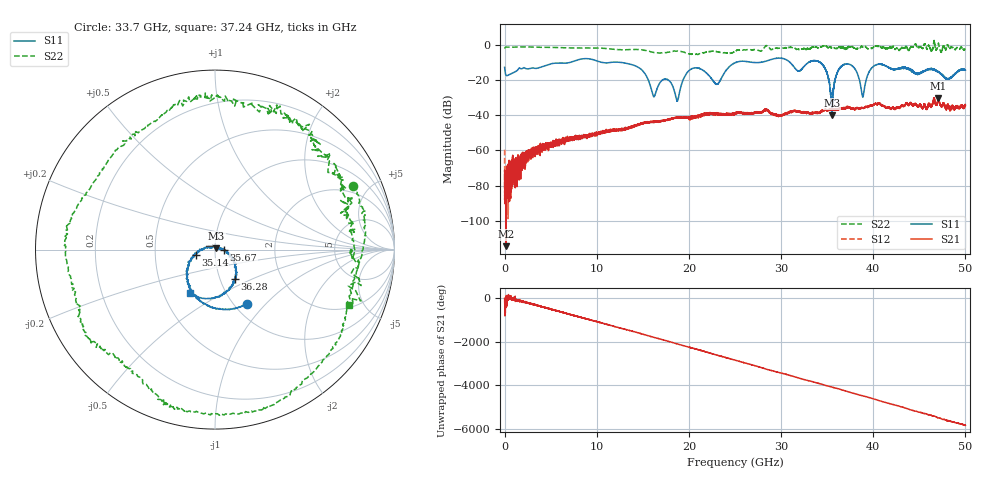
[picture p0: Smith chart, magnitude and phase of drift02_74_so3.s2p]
!Created with skrf (http://scikit-rf.org).
# Hz S RI R 50.0
!freq ReS11 ImS11 ReS21 ImS21 ReS12 ImS12 ReS22 ImS22
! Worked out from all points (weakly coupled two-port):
!   10001 points, 300 kHz to 50 GHz, reference 50 ohm
!   highest |S21| = -30.26 dB at 47.07 GHz (marker M1); lowest = -114.4 dB at 130.3 MHz (marker M2)
!   lowest |S11| = -40.2 dB at 35.54 GHz (marker M3), VSWR 1.02, Z = 50.7 + j0.716 ohm
!   |S11| at or under -10 dB: start of sweep to 7.18 GHz; 12.36 GHz to 25.17 GHz (12.81 GHz wide, 68.3 % of centre); 34.2 GHz to end of sweep (the widest 3 of 17)
!   |S22| runs from -5.7 to 2.3 dB; largest |S21 - S12| = 0.0036
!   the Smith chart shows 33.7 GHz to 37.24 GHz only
!   S11 on the Smith chart (normalised r, x): 33.7 GHz: 1.14, -0.79; 35.14 GHz: 0.80, -0.05; 35.67 GHz: 1.11, -0.00; 36.28 GHz: 1.18, -0.40; 37.24 GHz: 0.68, -0.36
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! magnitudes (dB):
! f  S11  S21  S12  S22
! 300 kHz  -12.9  -81.4  -59.7  -2.1
! 130.3 MHz  -17.2  -114.4  -77.5  -1.5
! 2.615 GHz  -13.7  -61.2  -60.0  -1.4
! 8.335 GHz  -8.2  -51.9  -52.8  -1.9
! 14.03 GHz  -11.8  -46.2  -45.9  -2.8
! 16.67 GHz  -23.4  -44.1  -43.7  -4.7
! 18.74 GHz  -31.9  -41.4  -41.5  -3.7
! 20.23 GHz  -13.9  -41.7  -41.4  -5.4
! 23.04 GHz  -22.6  -39.9  -39.3  -4.1
! 25 GHz  -10.4  -39.1  -39.1  -3.9
! 33.34 GHz  -9.3  -39.2  -38.7  -1.5
! 33.7 GHz  -9.1  -38.8  -38.6  -1.4
! 35.14 GHz  -19.0  -37.4  -37.3  -1.8
! 35.54 GHz  -40.2  -36.7  -36.9  -1.7
! 35.67 GHz  -25.9  -36.8  -36.6  -1.5
! 36.28 GHz  -14.1  -36.3  -36.3  -1.5
! 37.24 GHz  -11.0  -35.3  -35.8  -1.9
! 38.86 GHz  -29.8  -36.1  -36.1  -1.4
! 39.96 GHz  -12.7  -34.5  -34.4  -1.9
! 41.67 GHz  -13.0  -35.4  -35.5  -1.9
! 47.07 GHz  -15.5  -30.3  -30.2  0.8
! 50 GHz  -14.6  -34.3  -35.0  -2.7
